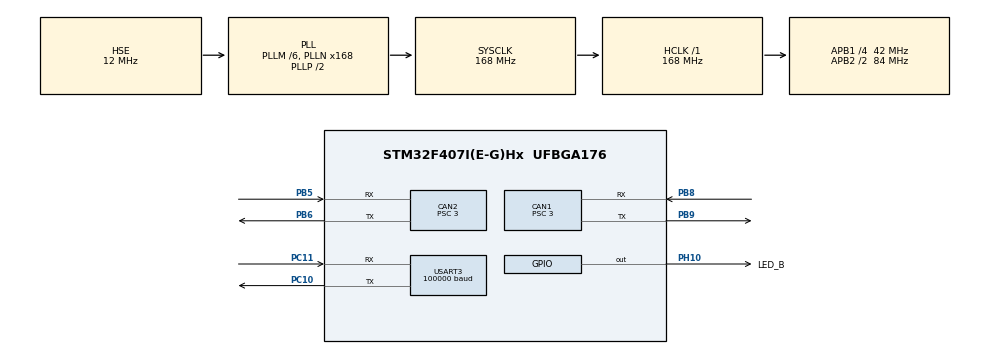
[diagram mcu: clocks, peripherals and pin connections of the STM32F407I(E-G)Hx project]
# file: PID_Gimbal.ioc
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CAN1.BS1=CAN_BS1_9TQ
CAN1.BS2=CAN_BS2_4TQ
CAN1.CalculateBaudRate=1000000
CAN1.CalculateTimeBit=1000
CAN1.CalculateTimeQuantum=71.42857142857143
CAN1.Prescaler=3
CAN2.BS1=CAN_BS1_9TQ
CAN2.BS2=CAN_BS2_4TQ
CAN2.CalculateBaudRate=1000000
CAN2.CalculateTimeBit=1000
CAN2.CalculateTimeQuantum=71.42857142857143
CAN2.Prescaler=3
Dma.Request0=USART3_RX
Dma.Request1=USART3_TX
Dma.USART3_RX.0.Direction=DMA_PERIPH_TO_MEMORY
Dma.USART3_RX.0.FIFOMode=DMA_FIFOMODE_DISABLE
Dma.USART3_RX.0.Instance=DMA1_Stream1
Dma.USART3_RX.0.MemDataAlignment=DMA_MDATAALIGN_BYTE
Dma.USART3_RX.0.MemInc=DMA_MINC_ENABLE
Dma.USART3_RX.0.Mode=DMA_NORMAL
Dma.USART3_RX.0.PeriphDataAlignment=DMA_PDATAALIGN_BYTE
Dma.USART3_RX.0.PeriphInc=DMA_PINC_DISABLE
Dma.USART3_RX.0.Priority=DMA_PRIORITY_LOW
Dma.USART3_TX.1.Direction=DMA_MEMORY_TO_PERIPH
Dma.USART3_TX.1.FIFOMode=DMA_FIFOMODE_DISABLE
Dma.USART3_TX.1.Instance=DMA1_Stream3
Dma.USART3_TX.1.MemDataAlignment=DMA_MDATAALIGN_BYTE
Dma.USART3_TX.1.MemInc=DMA_MINC_ENABLE
Dma.USART3_TX.1.Mode=DMA_NORMAL
Dma.USART3_TX.1.PeriphDataAlignment=DMA_PDATAALIGN_BYTE
Dma.USART3_TX.1.PeriphInc=DMA_PINC_DISABLE
Dma.USART3_TX.1.Priority=DMA_PRIORITY_LOW
Mcu.Family=STM32F4
Mcu.Name=STM32F407I(E-G)Hx
Mcu.Package=UFBGA176
NVIC.CAN1_RX0_IRQn=true\:0\:0\:false\:false\:true\:true\:true\:true
NVIC.CAN1_TX_IRQn=true\:0\:0\:false\:false\:true\:true\:true\:true
NVIC.CAN2_RX0_IRQn=true\:0\:0\:false\:false\:true\:true\:true\:true
NVIC.CAN2_TX_IRQn=true\:0\:0\:false\:false\:true\:true\:true\:true
NVIC.DMA1_Stream1_IRQn=true\:0\:0\:false\:false\:true\:false\:true\:true
NVIC.DMA1_Stream3_IRQn=true\:0\:0\:false\:false\:true\:false\:true\:true
NVIC.PriorityGroup=NVIC_PRIORITYGROUP_4
NVIC.USART3_IRQn=true\:0\:0\:false\:false\:true\:true\:true\:true
PA13.Mode=Serial_Wire
PA13.Signal=SYS_JTMS-SWDIO
PA14.Mode=Serial_Wire
PA14.Signal=SYS_JTCK-SWCLK
PB5.Mode=CAN_Activate
PB5.Signal=CAN2_RX
PB6.Mode=CAN_Activate
PB6.Signal=CAN2_TX
PB8.Mode=CAN_Activate
PB8.Signal=CAN1_RX
PB9.Mode=CAN_Activate
PB9.Signal=CAN1_TX
PC10.Mode=Asynchronous
PC10.Signal=USART3_TX
PC11.Mode=Asynchronous
PC11.Signal=USART3_RX
PH0-OSC_IN.Mode=HSE-External-Oscillator
PH0-OSC_IN.Signal=RCC_OSC_IN
PH1-OSC_OUT.Mode=HSE-External-Oscillator
PH1-OSC_OUT.Signal=RCC_OSC_OUT
PH10.GPIO_Label=LED_B
PH10.Signal=GPIO_Output
ProjectManager.HeapSize=0x200
ProjectManager.StackSize=0x400
ProjectManager.TargetToolchain=MDK-ARM V5.32
RCC.48MHZClocksFreq_Value=84000000
RCC.AHBFreq_Value=168000000
RCC.APB1CLKDivider=RCC_HCLK_DIV4
RCC.APB1Freq_Value=42000000
RCC.APB1TimFreq_Value=84000000
RCC.APB2CLKDivider=RCC_HCLK_DIV2
RCC.APB2Freq_Value=84000000
RCC.APB2TimFreq_Value=168000000
RCC.CortexFreq_Value=168000000
RCC.HCLKFreq_Value=168000000
RCC.HSE_VALUE=12000000
RCC.HSI_VALUE=16000000
RCC.LSE_VALUE=32768
RCC.PLLM=6
RCC.PLLN=168
RCC.PLLSourceVirtual=RCC_PLLSOURCE_HSE
RCC.SYSCLKFreq_VALUE=168000000
RCC.SYSCLKSource=RCC_SYSCLKSOURCE_PLLCLK
RCC.VCOOutputFreq_Value=336000000
USART3.BaudRate=100000
USART3.Parity=PARITY_EVEN
USART3.VirtualMode=VM_ASYNC
board=custom

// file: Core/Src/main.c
/* USER CODE BEGIN Header */
/**
  ******************************************************************************
  * @file           : main.c
  * @brief          : Main program body
  ******************************************************************************
  * @attention
  *
  * Copyright (c) 2023 STMicroelectronics.
  * All rights reserved.
  *
  * This software is licensed under terms that can be found in the LICENSE file
  * in the root directory of this software component.
  * If no LICENSE file comes with this software, it is provided AS-IS.
  *
  ******************************************************************************
  */
/* USER CODE END Header */
#include "main.h"
#include "can.h"
#include "dma.h"
#include "usart.h"
#include "gpio.h"

/* USER CODE BEGIN Includes */

#include "can_receive.h"
#include "pid.h"
#include "gimbal.h"
#include "drv_usart.h"
#include "rc_potocal.h"

/* USER CODE END Includes */

void SystemClock_Config(void);

/* USER CODE BEGIN 0 */

	#define PI 3.1415926
	float pi = PI;

	pid_struct_t gimbal_angle_pid;
	pid_struct_t gimbal_speed_pid;

	float tar_gimbal_speed = 0;
	float gimbal_speed_out = 0;
	float cur_gimbal_speed = 0;
//	float cur_gimbal_current = 0;

	float tar_gimbal_ecd = 0.8*PI;
	float gimbal_angle_out = 0;
	float cur_gimbal_ecd = 0;

	float cur_gimbal_ecd_1 = 0;

	extern motor_measure_t motor[1];
	int error1 = 0;

	motor_info_t  motor_info_chassis[8];

/* USER CODE END 0 */

int main(void)
{

  /* MCU Configuration--------------------------------------------------------*/

  /* Reset of all peripherals, Initializes the Flash interface and the Systick. */
  HAL_Init();

  /* Configure the system clock */
  SystemClock_Config();

  /* Initialize all configured peripherals */
  MX_GPIO_Init();
  MX_DMA_Init();
  MX_CAN1_Init();
	can1_filter_init();
  MX_CAN2_Init();
  MX_USART3_UART_Init();
  /* USER CODE BEGIN 2 */

	can2_filter_init(); //注意init的顺序

	USART3_Init();

	pid_init(&gimbal_angle_pid, 5, 2, 0, 100, 8000);
	pid_init(&gimbal_speed_pid, 5, 2, 0, 100, 3000);
	tar_gimbal_ecd = angle_map(tar_gimbal_ecd);

  /* USER CODE END 2 */

  /* Infinite loop */
  /* USER CODE BEGIN WHILE */

	HAL_GPIO_WritePin(LED_B_GPIO_Port, LED_B_Pin, GPIO_PIN_SET);

  while (1)
  {
		cur_gimbal_speed = motor[0].speed_rpm;
		cur_gimbal_ecd = motor[0].ecd;
		angle_over_zero(&tar_gimbal_ecd, &cur_gimbal_ecd);
    gimbal_angle_out = pid_calc(&gimbal_angle_pid, tar_gimbal_ecd, cur_gimbal_ecd);
    gimbal_speed_out = pid_calc(&gimbal_speed_pid, tar_gimbal_speed, gimbal_angle_out);
    CAN_cmd_gimbal(-1.5*gimbal_speed_out);
		error1++;
		HAL_Delay(1);
    /* USER CODE END WHILE */

  }
}

void SystemClock_Config(void)
{
  RCC_OscInitTypeDef RCC_OscInitStruct = {0};
  RCC_ClkInitTypeDef RCC_ClkInitStruct = {0};

  /** Configure the main internal regulator output voltage
  */
  __HAL_RCC_PWR_CLK_ENABLE();
  __HAL_PWR_VOLTAGESCALING_CONFIG(PWR_REGULATOR_VOLTAGE_SCALE1);

  /** Initializes the RCC Oscillators according to the specified parameters
  * in the RCC_OscInitTypeDef structure.
  */
  RCC_OscInitStruct.OscillatorType = RCC_OSCILLATORTYPE_HSE;
  RCC_OscInitStruct.HSEState = RCC_HSE_ON;
  RCC_OscInitStruct.PLL.PLLState = RCC_PLL_ON;
  RCC_OscInitStruct.PLL.PLLSource = RCC_PLLSOURCE_HSE;
  RCC_OscInitStruct.PLL.PLLM = 6;
  RCC_OscInitStruct.PLL.PLLN = 168;
  RCC_OscInitStruct.PLL.PLLP = RCC_PLLP_DIV2;
  RCC_OscInitStruct.PLL.PLLQ = 4;
  if (HAL_RCC_OscConfig(&RCC_OscInitStruct) != HAL_OK)
  {
    Error_Handler();
  }

  /** Initializes the CPU, AHB and APB buses clocks
  */
  RCC_ClkInitStruct.ClockType = RCC_CLOCKTYPE_HCLK|RCC_CLOCKTYPE_SYSCLK
                              |RCC_CLOCKTYPE_PCLK1|RCC_CLOCKTYPE_PCLK2;
  RCC_ClkInitStruct.SYSCLKSource = RCC_SYSCLKSOURCE_PLLCLK;
  RCC_ClkInitStruct.AHBCLKDivider = RCC_SYSCLK_DIV1;
  RCC_ClkInitStruct.APB1CLKDivider = RCC_HCLK_DIV4;
  RCC_ClkInitStruct.APB2CLKDivider = RCC_HCLK_DIV2;

  if (HAL_RCC_ClockConfig(&RCC_ClkInitStruct, FLASH_LATENCY_5) != HAL_OK)
  {
    Error_Handler();
  }
}

void Error_Handler(void)
{
  __disable_irq();
  while (1)
  {
  }
}
